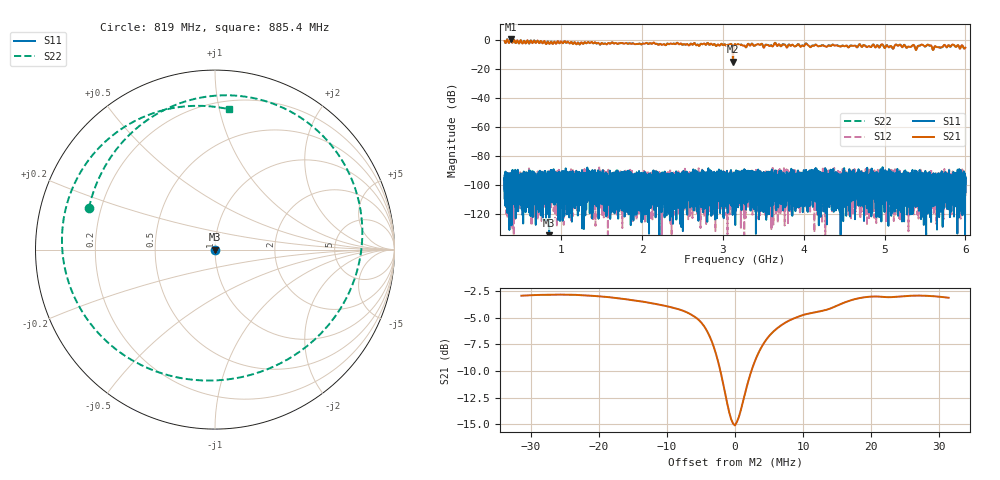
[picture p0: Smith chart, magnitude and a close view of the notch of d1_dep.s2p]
!Agilent Technologies,N5230C,SG49000117,A.08.50.07
!Agilent N5230C: A.08.50.07
!Date: Sunday, March 17, 2024 07:19:06
!Correction: S11(Off)
!S21(Off)
!S12(Off)
!S22(Off)
!S2P File: Measurements: S11, S21, S12, S22:
# Hz S  RI  R 50
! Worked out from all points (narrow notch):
!   20001 points, 300 MHz to 6 GHz, reference 50 ohm
!   highest |S21| = 0.48 dB at 374.4 MHz (marker M1); lowest = -15.1 dB at 3.125 GHz (marker M2)
!   notch at M2: 11.8 dB deep, 5.27 MHz wide at half that depth
!   lowest |S11| = -144.0 dB at 850.9 MHz (marker M3), VSWR 1.00, Z = 50 + j6.27e-06 ohm
!   |S11| at or under -10 dB: start of sweep to end of sweep
!   |S22| runs from -15.1 to 0.5 dB; largest |S21 - S12| = 1.1
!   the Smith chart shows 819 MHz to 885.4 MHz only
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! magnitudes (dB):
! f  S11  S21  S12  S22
! 300 MHz  -96.5  -0.9  -100.1  -0.8
! 374.4 MHz  -99.4  0.5  -98.1  0.5
! 850.9 MHz  -144.0  -2.7  -104.5  -2.7
! 1.25 GHz  -95.6  -1.7  -96.6  -1.7
! 2.2 GHz  -103.8  -3.4  -100.6  -3.4
! 3.084 GHz  -104.5  -3.3  -93.3  -3.3
! 3.125 GHz  -98.2  -15.1  -111.6  -15.1
! 3.15 GHz  -100.8  -2.9  -98.8  -2.9
! 3.169 GHz  -101.1  -3.7  -96.9  -3.7
! 3.271 GHz  -96.0  -4.2  -96.1  -4.1
! 3.458 GHz  -102.5  -3.5  -101.2  -3.4
! 3.977 GHz  -93.5  -4.0  -96.6  -3.9
! 4.037 GHz  -96.8  -2.9  -99.4  -2.8
! 4.1 GHz  -101.1  -4.3  -100.4  -4.1
! 5.05 GHz  -100.2  -5.1  -107.5  -5.1
! 5.167 GHz  -96.9  -4.0  -96.0  -4.0
! 5.398 GHz  -97.8  -6.1  -93.9  -6.1
! 5.445 GHz  -92.6  -3.7  -105.9  -3.7
! 5.549 GHz  -99.3  -3.8  -93.5  -3.8
! 5.614 GHz  -100.2  -5.2  -101.9  -5.2
! 5.847 GHz  -98.4  -3.3  -99.4  -3.3
! 6 GHz  -95.5  -5.5  -98.6  -5.5
